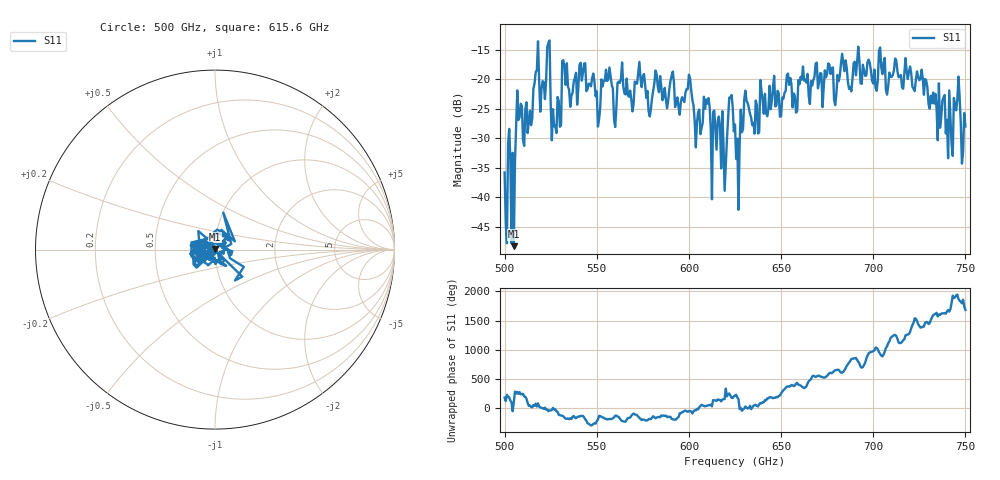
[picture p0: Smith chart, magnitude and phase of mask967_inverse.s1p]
!Created with skrf (http://scikit-rf.org).
# GHz S MA R 50.0
!freq magS11 angS11
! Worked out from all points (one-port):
!   401 points, 500 GHz to 750 GHz, reference 50 ohm
!   lowest |S11| = -48.3 dB at 505 GHz (marker M1), VSWR 1.01, Z = 49.9 + j0.378 ohm
!   |S11| at or under -10 dB: start of sweep to end of sweep
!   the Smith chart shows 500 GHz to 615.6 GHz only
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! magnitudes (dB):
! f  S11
! 500 GHz  -35.8
! 503.1 GHz  -33.6
! 505 GHz  -48.3
! 507.5 GHz  -26.9
! 513.8 GHz  -25.3
! 516.9 GHz  -18.7
! 520.6 GHz  -20.3
! 523.8 GHz  -13.8
! 526.9 GHz  -27.9
! 531.2 GHz  -16.9
! 542.5 GHz  -18.9
! 550.6 GHz  -28.0
! 556.2 GHz  -20.0
! 559.4 GHz  -26.8
! 562.5 GHz  -20.6
! 593.8 GHz  -23.0
! 609.4 GHz  -23.4
! 618.8 GHz  -30.9
! 622.5 GHz  -23.1
! 625 GHz  -27.6
! 626.2 GHz  -30.0
! 631.2 GHz  -23.6
! 656.2 GHz  -24.7
! 680 GHz  -22.4
! 683.8 GHz  -17.1
! 687.5 GHz  -21.3
! 718.8 GHz  -19.9
! 750 GHz  -28.0
